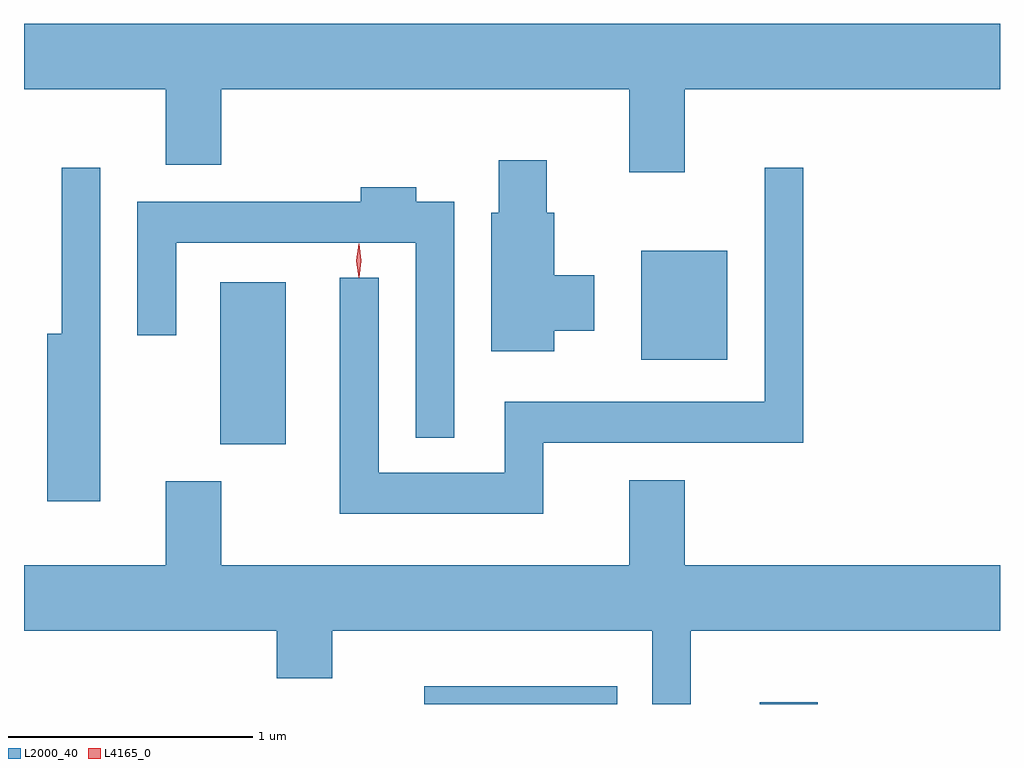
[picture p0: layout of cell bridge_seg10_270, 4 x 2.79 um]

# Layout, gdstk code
import gdstk
lib = gdstk.Library(unit=1e-6, precision=1e-09)
def R(c, l, rs):  # rectangles x0, y0, x1, y1
    for r in rs: c.add(gdstk.rectangle(r[:2], r[2:], *l))
def P(c, l, *ps):  # polygons
    for p in ps: c.add(gdstk.Polygon(p, *l))
L2000_40 = (2000, 40)
L4165_0 = (4165, 0)

bridge_seg10_270 = lib.new_cell('bridge_seg10_270')
R(bridge_seg10_270, L2000_40, [(1445.981,2175.775,1446.773,2175.849), (1447.356,2175.775,1447.594,2175.784), (1445.146,2176.841,1445.414,2177.504), (1446.871,2177.186,1447.224,2177.634)])
P(bridge_seg10_270, L2000_40, [(1447.049,2178.296),(1448.341,2178.296),(1448.341,2178.564),(1444.341,2178.564),(1444.341,2178.296),(1444.921,2178.296),(1444.921,2177.986),(1445.149,2177.986),(1445.149,2178.296),(1446.821,2178.296),(1446.821,2177.956),(1447.049,2177.956)],
  [(1446.514,2177.306),(1446.679,2177.306),(1446.679,2177.534),(1446.514,2177.534),(1446.514,2177.789),(1446.484,2177.789),(1446.484,2178.004),(1446.286,2178.004),(1446.286,2177.789),(1446.256,2177.789),(1446.256,2177.221),(1446.514,2177.221)],
  [(1444.654,2177.973),(1444.496,2177.973),(1444.496,2177.294),(1444.436,2177.294),(1444.436,2176.606),(1444.654,2176.606)],
  [(1446.469,2176.846),(1447.534,2176.846),(1447.534,2177.973),(1447.376,2177.973),(1447.376,2177.014),(1446.311,2177.014),(1446.311,2176.724),(1445.794,2176.724),(1445.794,2177.523),(1445.636,2177.523),(1445.636,2176.556),(1446.469,2176.556)],
  [(1446.104,2177.834),(1445.949,2177.834),(1445.949,2177.894),(1445.721,2177.894),(1445.721,2177.834),(1444.806,2177.834),(1444.806,2177.288),(1444.964,2177.288),(1444.964,2177.666),(1445.946,2177.666),(1445.946,2176.868),(1446.104,2176.868)],
  [(1447.074,2176.076),(1448.341,2176.076),(1448.341,2176.344),(1447.049,2176.344),(1447.049,2176.694),(1446.821,2176.694),(1446.821,2176.344),(1445.149,2176.344),(1445.149,2176.689),(1444.921,2176.689),(1444.921,2176.344),(1444.341,2176.344),(1444.341,2176.076),(1445.376,2176.076),(1445.376,2175.881),(1445.604,2175.881),(1445.604,2176.076),(1446.916,2176.076),(1446.916,2175.775),(1447.074,2175.775)])
P(bridge_seg10_270, L4165_0, [(1445.712,2177.524),(1445.703,2177.593),(1445.712,2177.662),(1445.713,2177.663),(1445.714,2177.662),(1445.723,2177.593),(1445.714,2177.524),(1445.713,2177.524)])

lib.write_gds('bridge_seg10_270.gds')
